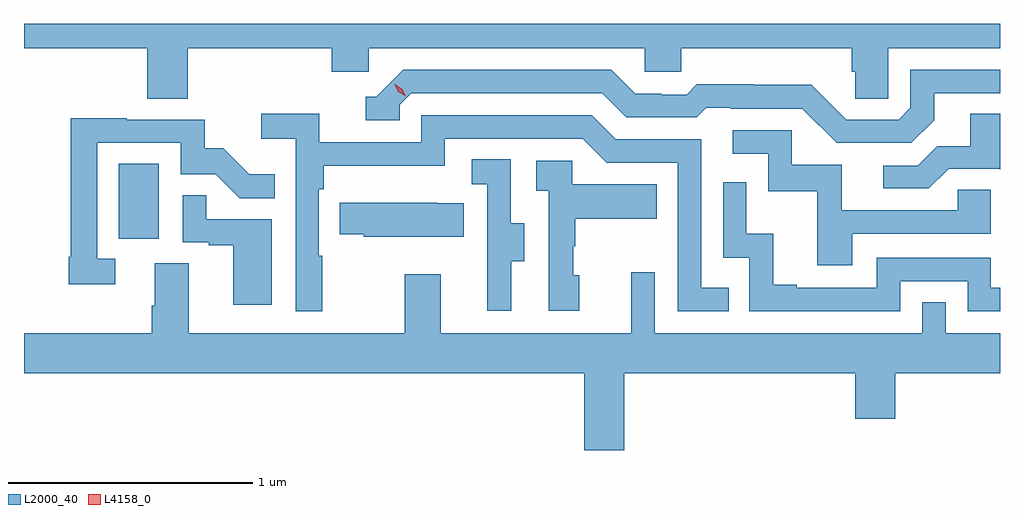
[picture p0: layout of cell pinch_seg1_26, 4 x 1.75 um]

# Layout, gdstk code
import gdstk
lib = gdstk.Library(unit=1e-6, precision=1e-09)
def R(c, l, rs):  # rectangles x0, y0, x1, y1
    for r in rs: c.add(gdstk.rectangle(r[:2], r[2:], *l))
def P(c, l, *ps):  # polygons
    for p in ps: c.add(gdstk.Polygon(p, *l))
L2000_40 = (2000, 40)
L4158_0 = (4158, 0)

pinch_seg1_26 = lib.new_cell('pinch_seg1_26')
R(pinch_seg1_26, L2000_40, [(1121.03,582.918,1121.194,583.225)])
P(pinch_seg1_26, L2000_40, [(1121.312,583.7),(1121.903,583.7),(1121.903,583.602),(1122.054,583.602),(1122.054,583.7),(1123.185,583.7),(1123.185,583.602),(1123.335,583.602),(1123.335,583.7),(1124.033,583.7),(1124.033,583.602),(1124.047,583.602),(1124.047,583.492),(1124.184,583.492),(1124.184,583.7),(1124.641,583.7),(1124.641,583.8),(1120.641,583.8),(1120.641,583.7),(1121.147,583.7),(1121.147,583.492),(1121.312,583.492)],
  [(1124.371,583.405),(1124.371,583.515),(1124.641,583.515),(1124.641,583.611),(1124.274,583.611),(1124.274,583.455),(1124.226,583.407),(1124.01,583.407),(1123.868,583.549),(1123.632,583.549),(1123.632,583.552),(1123.399,583.552),(1123.357,583.509),(1123.254,583.509),(1123.254,583.512),(1123.147,583.512),(1123.048,583.611),(1122.195,583.611),(1122.084,583.5),(1122.041,583.5),(1122.041,583.404),(1122.18,583.404),(1122.18,583.467),(1122.228,583.515),(1123.011,583.515),(1123.11,583.416),(1123.399,583.416),(1123.438,583.455),(1123.537,583.455),(1123.537,583.452),(1123.83,583.452),(1123.971,583.311),(1124.277,583.311)],
  [(1124.431,583.206),(1124.637,583.206),(1124.641,583.202),(1124.641,583.43),(1124.519,583.43),(1124.519,583.298),(1124.384,583.298),(1124.304,583.218),(1124.163,583.218),(1124.163,583.125),(1124.35,583.125)],
  [(1121.863,582.848),(1121.85,582.848),(1121.85,583.121),(1121.87,583.121),(1121.87,583.217),(1122.366,583.217),(1122.366,583.329),(1122.93,583.329),(1123.029,583.23),(1123.32,583.23),(1123.32,582.621),(1123.529,582.621),(1123.529,582.717),(1123.416,582.717),(1123.416,583.326),(1123.066,583.326),(1122.967,583.425),(1122.27,583.425),(1122.27,583.314),(1121.852,583.314),(1121.852,583.43),(1121.613,583.43),(1121.613,583.328),(1121.754,583.328),(1121.754,582.621),(1121.863,582.621)],
  [(1121.014,582.837),(1120.941,582.837),(1120.941,583.311),(1121.283,583.311),(1121.283,583.182),(1121.427,583.182),(1121.525,583.084),(1121.669,583.084),(1121.669,583.183),(1121.565,583.183),(1121.458,583.29),(1121.382,583.29),(1121.382,583.407),(1121.063,583.407),(1121.063,583.412),(1120.833,583.412),(1120.833,582.844),(1120.825,582.844),(1120.825,582.732),(1121.014,582.732)],
  [(1124.035,582.939),(1124.604,582.939),(1124.604,583.119),(1124.467,583.119),(1124.467,583.035),(1123.993,583.035),(1123.993,583.221),(1123.788,583.221),(1123.788,583.362),(1123.545,583.362),(1123.545,583.266),(1123.692,583.266),(1123.692,583.113),(1123.891,583.113),(1123.891,582.81),(1124.035,582.81)],
  [(1122.637,582.826),(1122.691,582.826),(1122.691,582.981),(1122.636,582.981),(1122.636,583.244),(1122.477,583.244),(1122.477,583.141),(1122.54,583.141),(1122.54,582.837),(1122.539,582.837),(1122.539,582.624),(1122.637,582.624)],
  [(1122.916,582.768),(1122.891,582.768),(1122.891,582.887),(1122.901,582.887),(1122.901,583.001),(1123.235,583.001),(1123.235,583.141),(1122.888,583.141),(1122.888,583.239),(1122.741,583.239),(1122.741,583.115),(1122.792,583.115),(1122.792,582.624),(1122.916,582.624)],
  [(1124.232,582.744),(1124.508,582.744),(1124.508,582.621),(1124.641,582.621),(1124.641,582.717),(1124.604,582.717),(1124.604,582.84),(1124.136,582.84),(1124.136,582.717),(1123.807,582.717),(1123.807,582.73),(1123.712,582.73),(1123.712,582.938),(1123.602,582.938),(1123.602,583.15),(1123.506,583.15),(1123.506,582.84),(1123.614,582.84),(1123.614,582.621),(1124.232,582.621)],
  [(1121.656,582.999),(1121.387,582.999),(1121.387,583.097),(1121.292,583.097),(1121.292,582.903),(1121.399,582.903),(1121.399,582.891),(1121.498,582.891),(1121.498,582.648),(1121.656,582.648)],
  [(1122.443,583.063),(1122.335,583.063),(1122.335,583.066),(1121.935,583.066),(1121.935,582.937),(1122.033,582.937),(1122.033,582.926),(1122.443,582.926)],
  [(1123.102,582.368),(1124.048,582.368),(1124.048,582.18),(1124.212,582.18),(1124.212,582.368),(1124.641,582.368),(1124.641,582.532),(1124.418,582.532),(1124.418,582.659),(1124.322,582.659),(1124.322,582.532),(1123.227,582.532),(1123.227,582.781),(1123.13,582.781),(1123.13,582.532),(1122.349,582.532),(1122.349,582.772),(1122.202,582.772),(1122.202,582.532),(1121.317,582.532),(1121.317,582.818),(1121.177,582.818),(1121.177,582.644),(1121.165,582.644),(1121.165,582.532),(1120.641,582.532),(1120.641,582.368),(1122.938,582.368),(1122.938,582.051),(1123.102,582.051)])
P(pinch_seg1_26, L4158_0, [(1122.205,583.502),(1122.174,583.521),(1122.158,583.553),(1122.158,583.554),(1122.158,583.554),(1122.189,583.534),(1122.205,583.502),(1122.205,583.502)])

lib.write_gds('pinch_seg1_26.gds')
